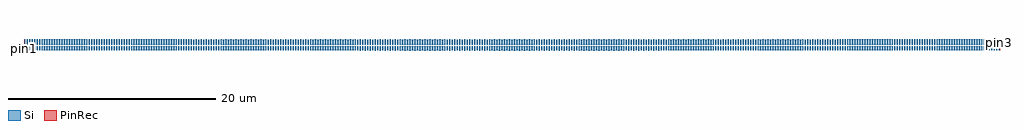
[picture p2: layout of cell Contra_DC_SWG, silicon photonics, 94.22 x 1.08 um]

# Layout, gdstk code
import gdstk
lib = gdstk.Library(unit=1e-6, precision=1e-09)
def R(c, l, rs):  # rectangles x0, y0, x1, y1
    for r in rs: c.add(gdstk.rectangle(r[:2], r[2:], *l))
def A(c, l, x, y, w, h, nx, ny, dx, dy):  # array of equal rectangles
    R(c, l, [(x+i*dx, y+j*dy, x+i*dx+w, y+j*dy+h) for i in range(nx) for j in range(ny)])
Si = (1, 0)
PinRec = (1, 10)

contra_dc_swg = lib.new_cell('Contra_DC_SWG')
A(contra_dc_swg, Si, 42.42, -0.229, 0.12, 0.399, 19, 1, 0.48, 0)
A(contra_dc_swg, Si, 40.5, -0.228, 0.12, 0.399, 4, 1, 0.48, 0)
A(contra_dc_swg, Si, 51.54, -0.228, 0.12, 0.399, 4, 1, 0.48, 0)
A(contra_dc_swg, Si, 39.06, -0.227, 0.12, 0.399, 3, 1, 0.48, 0)
A(contra_dc_swg, Si, 53.46, -0.227, 0.12, 0.399, 3, 1, 0.48, 0)
A(contra_dc_swg, Si, 37.62, -0.226, 0.12, 0.399, 3, 1, 0.48, 0)
A(contra_dc_swg, Si, 54.9, -0.226, 0.12, 0.399, 3, 1, 0.48, 0)
A(contra_dc_swg, Si, 56.34, -0.225, 0.12, 0.399, 3, 1, 0.48, 0)
A(contra_dc_swg, Si, 34.26, -0.223, 0.12, 0.399, 3, 1, 0.48, 0)
A(contra_dc_swg, Si, 68.34, -0.213, 0.12, 0.399, 3, 1, 0.48, 0)
A(contra_dc_swg, Si, 22.26, -0.211, 0.12, 0.399, 3, 1, 0.48, 0)
A(contra_dc_swg, Si, 72.66, -0.209, 0.12, 0.399, 3, 1, 0.48, 0)
A(contra_dc_swg, Si, 18.9, -0.208, 0.12, 0.399, 3, 1, 0.48, 0)
A(contra_dc_swg, Si, 74.1, -0.208, 0.12, 0.399, 3, 1, 0.48, 0)
A(contra_dc_swg, Si, 17.46, -0.207, 0.12, 0.399, 3, 1, 0.48, 0)
A(contra_dc_swg, Si, 75.54, -0.207, 0.12, 0.399, 3, 1, 0.48, 0)
A(contra_dc_swg, Si, 16.02, -0.206, 0.12, 0.399, 3, 1, 0.48, 0)
A(contra_dc_swg, Si, 76.98, -0.206, 0.12, 0.399, 3, 1, 0.48, 0)
A(contra_dc_swg, Si, 14.1, -0.205, 0.12, 0.399, 4, 1, 0.48, 0)
A(contra_dc_swg, Si, 78.42, -0.205, 0.12, 0.399, 3, 1, 0.48, 0)
A(contra_dc_swg, Si, 12.18, -0.204, 0.12, 0.399, 4, 1, 0.48, 0)
A(contra_dc_swg, Si, 79.86, -0.204, 0.12, 0.399, 4, 1, 0.48, 0)
A(contra_dc_swg, Si, 9.78, -0.203, 0.12, 0.399, 5, 1, 0.48, 0)
A(contra_dc_swg, Si, 81.78, -0.203, 0.12, 0.399, 5, 1, 0.48, 0)
A(contra_dc_swg, Si, 6.42, -0.202, 0.12, 0.399, 7, 1, 0.48, 0)
A(contra_dc_swg, Si, 84.18, -0.202, 0.12, 0.399, 7, 1, 0.48, 0)
A(contra_dc_swg, Si, 1.62, -0.201, 0.12, 0.399, 10, 1, 0.48, 0)
A(contra_dc_swg, Si, 87.54, -0.201, 0.12, 0.399, 10, 1, 0.48, 0)
A(contra_dc_swg, Si, -0.06, -0.2, 0.12, 0.4, 197, 1, 0.48, 0)
A(contra_dc_swg, Si, 0.18, -0.2, 0.12, 0.399, 3, 1, 0.48, 0)
A(contra_dc_swg, Si, 92.34, -0.2, 0.12, 0.399, 4, 1, 0.48, 0)
A(contra_dc_swg, Si, 43.62, 0.311, 0.12, 0.499, 16, 1, 0.48, 0)
A(contra_dc_swg, Si, 41.7, 0.312, 0.12, 0.499, 4, 1, 0.48, 0)
A(contra_dc_swg, Si, 51.3, 0.312, 0.12, 0.499, 3, 1, 0.48, 0)
A(contra_dc_swg, Si, 40.26, 0.313, 0.12, 0.499, 3, 1, 0.48, 0)
A(contra_dc_swg, Si, 52.74, 0.313, 0.12, 0.499, 3, 1, 0.48, 0)
A(contra_dc_swg, Si, 18.18, 0.34, 0.12, 0.499, 3, 1, 0.48, 0)
A(contra_dc_swg, Si, 77.22, 0.342, 0.12, 0.499, 3, 1, 0.48, 0)
A(contra_dc_swg, Si, 14.82, 0.343, 0.12, 0.499, 3, 1, 0.48, 0)
A(contra_dc_swg, Si, 13.38, 0.344, 0.12, 0.499, 3, 1, 0.48, 0)
A(contra_dc_swg, Si, 79.62, 0.344, 0.12, 0.499, 3, 1, 0.48, 0)
A(contra_dc_swg, Si, 11.94, 0.345, 0.12, 0.499, 3, 1, 0.48, 0)
A(contra_dc_swg, Si, 81.06, 0.345, 0.12, 0.499, 4, 1, 0.48, 0)
A(contra_dc_swg, Si, 10.02, 0.346, 0.12, 0.499, 4, 1, 0.48, 0)
A(contra_dc_swg, Si, 82.98, 0.346, 0.12, 0.499, 3, 1, 0.48, 0)
A(contra_dc_swg, Si, 7.62, 0.347, 0.12, 0.499, 5, 1, 0.48, 0)
A(contra_dc_swg, Si, 84.42, 0.347, 0.12, 0.499, 5, 1, 0.48, 0)
A(contra_dc_swg, Si, 4.74, 0.348, 0.12, 0.499, 6, 1, 0.48, 0)
A(contra_dc_swg, Si, 86.82, 0.348, 0.12, 0.499, 6, 1, 0.48, 0)
A(contra_dc_swg, Si, -0.06, 0.349, 0.12, 0.499, 10, 1, 0.48, 0)
A(contra_dc_swg, Si, 89.7, 0.349, 0.12, 0.499, 10, 1, 0.48, 0)
A(contra_dc_swg, Si, 0.18, 0.35, 0.12, 0.5, 196, 1, 0.48, 0)
R(contra_dc_swg, Si, [(36.66,-0.225,36.78,0.174), (37.14,-0.225,37.26,0.174), (35.7,-0.224,35.82,0.175), (36.18,-0.224,36.3,0.175), (57.78,-0.224,57.9,0.175), (58.26,-0.224,58.38,0.175), (58.74,-0.223,58.86,0.176), (59.22,-0.223,59.34,0.176), (33.3,-0.222,33.42,0.177), (33.78,-0.222,33.9,0.177), (59.7,-0.222,59.82,0.177), (60.18,-0.222,60.3,0.177), (32.34,-0.221,32.46,0.178), (32.82,-0.221,32.94,0.178), (60.66,-0.221,60.78,0.178), (61.14,-0.221,61.26,0.178), (31.38,-0.22,31.5,0.179), (31.86,-0.22,31.98,0.179), (61.62,-0.22,61.74,0.179), (62.1,-0.22,62.22,0.179), (30.42,-0.219,30.54,0.18), (30.9,-0.219,31.02,0.18), (62.58,-0.219,62.7,0.18), (63.06,-0.219,63.18,0.18), (29.46,-0.218,29.58,0.181), (29.94,-0.218,30.06,0.181), (63.54,-0.218,63.66,0.181), (64.02,-0.218,64.14,0.181), (28.5,-0.217,28.62,0.182), (28.98,-0.217,29.1,0.182), (64.5,-0.217,64.62,0.182), (64.98,-0.217,65.1,0.182), (27.54,-0.216,27.66,0.183), (28.02,-0.216,28.14,0.183), (65.46,-0.216,65.58,0.183), (65.94,-0.216,66.06,0.183), (26.58,-0.215,26.7,0.184), (27.06,-0.215,27.18,0.184), (66.42,-0.215,66.54,0.184), (66.9,-0.215,67.02,0.184), (25.62,-0.214,25.74,0.185), (26.1,-0.214,26.22,0.185), (67.38,-0.214,67.5,0.185), (67.86,-0.214,67.98,0.185), (24.66,-0.213,24.78,0.186), (25.14,-0.213,25.26,0.186), (23.7,-0.212,23.82,0.187), (24.18,-0.212,24.3,0.187), (69.78,-0.212,69.9,0.187), (70.26,-0.212,70.38,0.187), (70.74,-0.211,70.86,0.188), (71.22,-0.211,71.34,0.188), (21.3,-0.21,21.42,0.189), (21.78,-0.21,21.9,0.189), (71.7,-0.21,71.82,0.189), (72.18,-0.21,72.3,0.189), (20.34,-0.209,20.46,0.19), (20.82,-0.209,20.94,0.19), (39.3,0.314,39.42,0.813), (39.78,0.314,39.9,0.813), (54.18,0.314,54.3,0.813), (54.66,0.314,54.78,0.813), (38.34,0.315,38.46,0.814), (38.82,0.315,38.94,0.814), (55.14,0.315,55.26,0.814), (55.62,0.315,55.74,0.814), (37.38,0.316,37.5,0.815), (37.86,0.316,37.98,0.815), (56.1,0.316,56.22,0.815), (56.58,0.316,56.7,0.815), (36.42,0.317,36.54,0.816), (36.9,0.317,37.02,0.816), (57.06,0.317,57.18,0.816), (57.54,0.317,57.66,0.816), (35.94,0.318,36.06,0.817), (58.02,0.318,58.14,0.817), (58.5,0.318,58.62,0.817), (34.98,0.319,35.1,0.818), (35.46,0.319,35.58,0.818), (58.98,0.319,59.1,0.818), (59.46,0.319,59.58,0.818), (34.02,0.32,34.14,0.819), (34.5,0.32,34.62,0.819), (59.94,0.32,60.06,0.819), (33.54,0.321,33.66,0.82), (60.42,0.321,60.54,0.82), (60.9,0.321,61.02,0.82), (32.58,0.322,32.7,0.821), (33.06,0.322,33.18,0.821), (61.38,0.322,61.5,0.821), (32.1,0.323,32.22,0.822), (61.86,0.323,61.98,0.822), (62.34,0.323,62.46,0.822), (31.14,0.324,31.26,0.823), (31.62,0.324,31.74,0.823), (62.82,0.324,62.94,0.823), (30.66,0.325,30.78,0.824), (63.3,0.325,63.42,0.824), (63.78,0.325,63.9,0.824), (29.7,0.326,29.82,0.825), (30.18,0.326,30.3,0.825), (64.26,0.326,64.38,0.825), (29.22,0.327,29.34,0.826), (64.74,0.327,64.86,0.826), (65.22,0.327,65.34,0.826), (28.26,0.328,28.38,0.827), (28.74,0.328,28.86,0.827), (65.7,0.328,65.82,0.827), (27.78,0.329,27.9,0.828), (66.18,0.329,66.3,0.828), (66.66,0.329,66.78,0.828), (26.82,0.33,26.94,0.829), (27.3,0.33,27.42,0.829), (67.14,0.33,67.26,0.829), (26.34,0.331,26.46,0.83), (67.62,0.331,67.74,0.83), (68.1,0.331,68.22,0.83), (25.38,0.332,25.5,0.831), (25.86,0.332,25.98,0.831), (68.58,0.332,68.7,0.831), (69.06,0.332,69.18,0.831), (24.42,0.333,24.54,0.832), (24.9,0.333,25.02,0.832), (69.54,0.333,69.66,0.832), (23.94,0.334,24.06,0.833), (70.02,0.334,70.14,0.833), (70.5,0.334,70.62,0.833), (22.98,0.335,23.1,0.834), (23.46,0.335,23.58,0.834), (70.98,0.335,71.1,0.834), (22.02,0.336,22.14,0.835), (22.5,0.336,22.62,0.835), (71.46,0.336,71.58,0.835), (71.94,0.336,72.06,0.835), (21.06,0.337,21.18,0.836), (21.54,0.337,21.66,0.836), (72.42,0.337,72.54,0.836), (72.9,0.337,73.02,0.836), (20.58,0.338,20.7,0.837), (73.38,0.338,73.5,0.837), (73.86,0.338,73.98,0.837), (19.62,0.339,19.74,0.838), (20.1,0.339,20.22,0.838), (74.34,0.339,74.46,0.838), (74.82,0.339,74.94,0.838), (75.3,0.34,75.42,0.839), (75.78,0.34,75.9,0.839), (17.22,0.341,17.34,0.84), (17.7,0.341,17.82,0.84), (76.26,0.341,76.38,0.84), (76.74,0.341,76.86,0.84), (16.26,0.342,16.38,0.841), (16.74,0.342,16.86,0.841), (78.66,0.343,78.78,0.842), (79.14,0.343,79.26,0.842)])
contra_dc_swg.add(gdstk.FlexPath([(-0.05,0),(-0.07,0)], 0.4, ends="flush", simple_path=True, layer=1, datatype=10))  # PinRec
contra_dc_swg.add(gdstk.FlexPath([(-0.05,0.599),(-0.07,0.599)], 0.5, ends="flush", simple_path=True, layer=1, datatype=10))  # PinRec
contra_dc_swg.add(gdstk.FlexPath([(94.13,0.599),(94.15,0.599)], 0.5, ends="flush", simple_path=True, layer=1, datatype=10))  # PinRec
contra_dc_swg.add(gdstk.FlexPath([(94.13,0),(94.15,0)], 0.4, ends="flush", simple_path=True, layer=1, datatype=10))  # PinRec
contra_dc_swg.add(gdstk.Label('pin1', (-0.06,0), layer=1, texttype=10))
contra_dc_swg.add(gdstk.Label('pin2', (-0.06,0.599), layer=1, texttype=10))
contra_dc_swg.add(gdstk.Label('pin3', (94.14,0.599), layer=1, texttype=10))
contra_dc_swg.add(gdstk.Label('pin4', (94.14,0), layer=1, texttype=10))

lib.write_gds('Contra_DC_SWG.gds')
